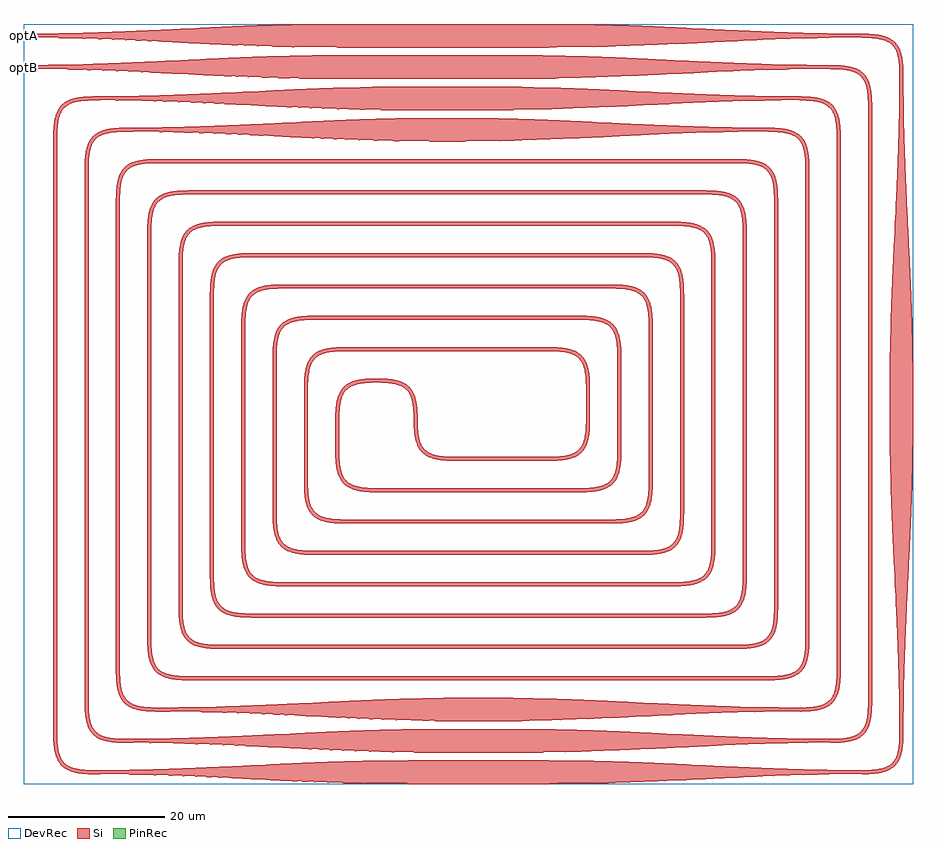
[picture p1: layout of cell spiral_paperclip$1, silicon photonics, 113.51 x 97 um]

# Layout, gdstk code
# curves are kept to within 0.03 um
import gdstk
lib = gdstk.Library(unit=1e-6, precision=1e-09)
def R(c, l, rs):  # rectangles x0, y0, x1, y1
    for r in rs: c.add(gdstk.rectangle(r[:2], r[2:], *l))
def P(c, l, *ps):  # polygons
    for p in ps: c.add(gdstk.Polygon(p, *l))
Si = (1, 0)
PinRec = (1, 10)
DevRec = (68, 0)

spiral_paperclip_1 = lib.new_cell('spiral_paperclip$1')
R(spiral_paperclip_1, Si, [(-7,-46.5,11,-43.5), (-3,-42.5,7,-39.5), (1,-38.5,3,-35.5), (54.5,0,57.5,4), (-3,35.5,-1,38.5), (-7,39.5,3,42.5), (-16,43.5,7,46.5), (-16,47.5,11,50.5)])
P(spiral_paperclip_1, Si, [(47,-41.25),(47,-40.75),(48.386,-40.696),(49.48,-40.521),(50.304,-40.209),(50.668,-39.965),(50.897,-39.746),(51.314,-39.093),(51.555,-38.341),(51.712,-37.206),(51.75,-36),(51.722,41.022),(51.612,42.045),(51.405,42.865),(51.093,43.494),(50.746,43.897),(50.093,44.314),(49.341,44.555),(48.206,44.712),(47,44.75),(47,45.25),(48.431,45.195),(49.603,45.006),(50.167,44.825),(50.543,44.648),(51.177,44.177),(51.647,43.544),(51.824,43.168),(52.005,42.604),(52.194,41.432),(52.25,40),(52.223,-37.049),(52.105,-38.13),(51.876,-39.032),(51.51,-39.771),(50.984,-40.351),(50.298,-40.769),(49.45,-41.042),(48.432,-41.194)],
  [(-43,-41.25),(-44.431,-41.195),(-45.603,-41.006),(-46.167,-40.825),(-46.543,-40.648),(-47.177,-40.177),(-47.647,-39.544),(-47.824,-39.168),(-48.005,-38.604),(-48.194,-37.432),(-48.25,-36),(-48.25,32),(-48.21,33.242),(-48.075,34.292),(-47.825,35.167),(-47.433,35.88),(-46.881,36.432),(-46.298,36.769),(-45.45,37.042),(-44.432,37.194),(-43,37.25),(-43,36.75),(-44.386,36.696),(-45.48,36.521),(-46.304,36.209),(-46.668,35.965),(-46.897,35.746),(-47.314,35.093),(-47.555,34.341),(-47.712,33.206),(-47.75,32),(-47.75,-36),(-47.711,-37.207),(-47.584,-38.197),(-47.405,-38.865),(-47.093,-39.494),(-46.667,-39.966),(-46.093,-40.314),(-45.341,-40.555),(-44.206,-40.712),(-43,-40.75)],
  [(-39,-37.25),(-40.432,-37.194),(-41.45,-37.042),(-42.298,-36.769),(-42.984,-36.351),(-43.51,-35.771),(-43.876,-35.032),(-44.105,-34.13),(-44.223,-33.049),(-44.245,28.438),(-44.155,29.791),(-43.922,30.894),(-43.58,31.661),(-43.082,32.267),(-42.422,32.711),(-41.603,33.006),(-40.431,33.195),(-39,33.25),(35.223,33.248),(36.432,33.194),(37.45,33.042),(38.298,32.769),(38.881,32.432),(39.433,31.88),(39.648,31.543),(39.876,31.032),(40.132,29.963),(40.241,28.647),(40.25,-24),(40.176,-25.614),(40.074,-26.293),(39.922,-26.894),(39.769,-27.298),(39.509,-27.772),(39.177,-28.177),(38.88,-28.433),(38.297,-28.77),(37.449,-29.043),(36.431,-29.195),(35.221,-29.249),(-31.648,-29.24),(-32.791,-29.155),(-33.604,-29.005),(-34.298,-28.769),(-34.881,-28.432),(-35.352,-27.983),(-35.711,-27.422),(-35.966,-26.75),(-36.156,-25.79),(-36.25,-24),(-36.25,20),(-36.194,21.432),(-36.042,22.45),(-35.824,23.168),(-35.432,23.881),(-34.983,24.352),(-34.422,24.711),(-33.603,25.006),(-32.79,25.156),(-31.647,25.241),(27,25.25),(28.243,25.209),(29.293,25.074),(30.168,24.824),(30.881,24.432),(31.352,23.983),(31.711,23.422),(32.006,22.603),(32.177,21.613),(32.246,20.437),(32.25,-16),(32.155,-17.791),(31.965,-18.751),(31.71,-19.423),(31.266,-20.083),(30.771,-20.51),(30.167,-20.825),(29.449,-21.043),(28.431,-21.195),(27.221,-21.249),(-23,-21.25),(-24.432,-21.194),(-25.45,-21.042),(-26.168,-20.824),(-26.881,-20.432),(-27.352,-19.983),(-27.711,-19.422),(-28.006,-18.603),(-28.177,-17.613),(-28.246,-16.437),(-28.25,12),(-28.222,13.05),(-28.131,13.964),(-27.922,14.894),(-27.647,15.544),(-27.266,16.083),(-26.771,16.51),(-26.167,16.825),(-25.449,17.043),(-24.431,17.195),(-23.221,17.249),(19,17.25),(20.614,17.176),(21.604,17.005),(22.298,16.769),(22.881,16.432),(23.433,15.88),(23.77,15.297),(24.043,14.449),(24.177,13.613),(24.246,12.437),(24.25,-8),(24.209,-9.243),(24.074,-10.293),(23.875,-11.033),(23.58,-11.661),(23.177,-12.177),(22.66,-12.581),(22.032,-12.876),(21.292,-13.075),(20.431,-13.195),(19.221,-13.249),(-15,-13.25),(-16.614,-13.176),(-17.604,-13.005),(-18.298,-12.769),(-18.881,-12.432),(-19.352,-11.983),(-19.711,-11.422),(-20.006,-10.603),(-20.156,-9.79),(-20.241,-8.647),(-20.245,4.438),(-20.155,5.791),(-19.965,6.751),(-19.769,7.298),(-19.432,7.881),(-19.082,8.267),(-18.543,8.648),(-17.893,8.923),(-17.13,9.105),(-16.242,9.21),(-15.221,9.249),(11,9.25),(12.791,9.155),(13.604,9.005),(14.298,8.769),(14.881,8.432),(15.352,7.983),(15.711,7.422),(15.966,6.75),(16.132,5.963),(16.223,5.049),(16.222,-1.05),(16.074,-2.293),(15.769,-3.298),(15.509,-3.772),(15.177,-4.177),(14.771,-4.51),(14.297,-4.77),(13.75,-4.966),(13.13,-5.105),(11.647,-5.241),(-1.438,-5.245),(-2.964,-5.131),(-4.033,-4.875),(-4.661,-4.58),(-5.177,-4.177),(-5.581,-3.66),(-5.876,-3.032),(-6.043,-2.449),(-6.177,-1.613),(-6.289,1.207),(-6.416,2.197),(-6.554,2.742),(-6.738,3.201),(-6.97,3.583),(-7.254,3.897),(-7.697,4.21),(-8.259,4.447),(-8.956,4.613),(-9.794,4.712),(-10.999,4.75),(-12.386,4.696),(-13.342,4.554),(-14.094,4.313),(-14.494,4.093),(-14.823,3.823),(-15.094,3.493),(-15.314,3.093),(-15.486,2.612),(-15.613,2.044),(-15.746,0.427),(-15.745,-4.428),(-15.612,-6.045),(-15.405,-6.865),(-15.152,-7.401),(-14.746,-7.897),(-14.303,-8.21),(-13.864,-8.406),(-13.196,-8.585),(-12.385,-8.697),(-11.427,-8.746),(15,-8.75),(16.207,-8.711),(17.045,-8.612),(17.742,-8.446),(18.304,-8.209),(18.668,-7.965),(18.966,-7.667),(19.21,-7.303),(19.406,-6.864),(19.555,-6.341),(19.66,-5.728),(19.749,-4.217),(19.75,8),(19.711,9.207),(19.554,10.342),(19.313,11.094),(18.965,11.668),(18.667,11.966),(18.4,12.153),(17.864,12.406),(17.196,12.585),(16.385,12.697),(15.427,12.746),(-19,12.75),(-20.207,12.711),(-21.045,12.612),(-21.865,12.405),(-22.401,12.152),(-22.747,11.896),(-23.031,11.582),(-23.263,11.2),(-23.447,10.741),(-23.585,10.196),(-23.679,9.559),(-23.75,8),(-23.722,-13.022),(-23.584,-14.197),(-23.36,-14.982),(-22.965,-15.668),(-22.493,-16.094),(-21.981,-16.361),(-21.341,-16.555),(-20.385,-16.697),(-19.427,-16.746),(23,-16.75),(24.207,-16.711),(25.197,-16.584),(25.865,-16.405),(26.494,-16.093),(26.823,-15.823),(27.094,-15.493),(27.447,-14.741),(27.585,-14.196),(27.679,-13.559),(27.75,-12),(27.74,16.632),(27.637,17.89),(27.405,18.865),(27.093,19.494),(26.896,19.747),(26.582,20.031),(25.981,20.361),(25.196,20.585),(24.206,20.712),(23,20.75),(-27.217,20.748),(-28.207,20.711),(-29.197,20.584),(-29.865,20.405),(-30.494,20.093),(-30.823,19.823),(-31.094,19.493),(-31.447,18.741),(-31.585,18.196),(-31.679,17.559),(-31.75,16),(-31.74,-20.632),(-31.637,-21.89),(-31.405,-22.865),(-31.093,-23.494),(-30.896,-23.747),(-30.582,-24.031),(-30.093,-24.314),(-29.341,-24.555),(-28.385,-24.697),(-27.217,-24.749),(31,-24.75),(32.207,-24.711),(33.342,-24.554),(34.094,-24.313),(34.668,-23.965),(35.094,-23.493),(35.447,-22.741),(35.66,-21.728),(35.746,-20.427),(35.75,24),(35.711,25.207),(35.584,26.197),(35.36,26.982),(35.03,27.583),(34.582,28.031),(33.981,28.361),(33.196,28.585),(32.206,28.712),(31,28.75),(-35.217,28.748),(-36.386,28.696),(-37.342,28.554),(-38.094,28.313),(-38.668,27.965),(-39.094,27.493),(-39.447,26.741),(-39.66,25.728),(-39.746,24.427),(-39.745,-28.428),(-39.678,-29.56),(-39.521,-30.48),(-39.313,-31.094),(-38.965,-31.668),(-38.493,-32.094),(-37.864,-32.406),(-37.044,-32.613),(-36.021,-32.723),(39.83,-32.732),(40.89,-32.637),(41.613,-32.485),(42.304,-32.209),(42.747,-31.896),(43.094,-31.493),(43.406,-30.864),(43.585,-30.196),(43.712,-29.206),(43.75,-28),(43.748,32.217),(43.696,33.386),(43.521,34.48),(43.262,35.201),(42.896,35.747),(42.667,35.966),(42.303,36.21),(41.479,36.522),(40.385,36.697),(39,36.75),(39,37.25),(40.613,37.177),(41.75,36.966),(42.167,36.825),(42.66,36.581),(43.266,36.083),(43.71,35.423),(44.005,34.604),(44.176,33.614),(44.245,32.438),(44.233,-28.851),(44.132,-29.963),(43.923,-30.893),(43.581,-31.66),(43.177,-32.177),(42.661,-32.58),(41.894,-32.922),(40.964,-33.131),(39.852,-33.232),(-36.049,-33.223),(-37.13,-33.105),(-38.032,-32.876),(-38.771,-32.51),(-39.266,-32.083),(-39.71,-31.423),(-40.005,-30.604),(-40.176,-29.614),(-40.245,-28.438),(-40.25,24),(-40.195,25.431),(-40.043,26.449),(-39.77,27.297),(-39.433,27.88),(-38.881,28.432),(-38.298,28.769),(-37.45,29.042),(-36.432,29.194),(-35,29.25),(31,29.25),(32.242,29.21),(33.292,29.075),(34.167,28.825),(34.88,28.433),(35.432,27.881),(35.769,27.298),(36.042,26.45),(36.194,25.432),(36.25,24),(36.241,-20.647),(36.132,-21.963),(35.876,-23.032),(35.648,-23.543),(35.433,-23.88),(34.881,-24.432),(34.298,-24.769),(33.45,-25.042),(32.432,-25.194),(31.223,-25.248),(-27,-25.25),(-28.431,-25.195),(-29.449,-25.043),(-30.297,-24.77),(-30.88,-24.433),(-31.432,-23.881),(-31.769,-23.298),(-32.042,-22.45),(-32.194,-21.432),(-32.25,-20),(-32.241,16.647),(-32.132,17.963),(-31.876,19.032),(-31.51,19.771),(-30.984,20.351),(-30.298,20.769),(-29.45,21.042),(-28.432,21.194),(-27,21.25),(23.221,21.249),(24.431,21.195),(25.449,21.043),(26.167,20.825),(26.771,20.51),(27.177,20.177),(27.432,19.881),(27.71,19.423),(27.922,18.894),(28.074,18.293),(28.176,17.614),(28.25,16),(28.233,-12.851),(28.105,-14.13),(27.825,-15.167),(27.433,-15.88),(27.177,-16.177),(26.772,-16.509),(26.168,-16.824),(25.45,-17.042),(24.614,-17.176),(23.438,-17.245),(-19.851,-17.233),(-20.79,-17.156),(-21.603,-17.006),(-22.297,-16.77),(-22.771,-16.51),(-23.177,-16.177),(-23.58,-15.661),(-23.824,-15.168),(-24.042,-14.45),(-24.194,-13.432),(-24.25,-12),(-24.249,8.221),(-24.132,9.963),(-23.966,10.75),(-23.711,11.422),(-23.433,11.88),(-22.984,12.351),(-22.423,12.71),(-21.751,12.965),(-20.964,13.131),(-20.05,13.222),(15,13.25),(16.613,13.177),(17.449,13.043),(18.167,12.825),(18.771,12.51),(19.266,12.083),(19.647,11.544),(19.922,10.894),(20.104,10.131),(20.222,9.05),(20.249,-4.221),(20.177,-5.613),(20.006,-6.603),(19.77,-7.297),(19.51,-7.771),(19.177,-8.177),(18.661,-8.58),(18.168,-8.824),(17.45,-9.042),(16.614,-9.176),(15.438,-9.245),(-11,-9.25),(-12.79,-9.156),(-13.603,-9.006),(-14.297,-8.77),(-14.88,-8.433),(-15.351,-7.984),(-15.71,-7.423),(-15.965,-6.751),(-16.131,-5.964),(-16.222,-5.05),(-16.223,1.049),(-16.075,2.292),(-15.77,3.297),(-15.51,3.771),(-15.177,4.177),(-14.772,4.509),(-14.298,4.769),(-13.751,4.965),(-13.131,5.104),(-11.648,5.24),(-9.758,5.21),(-8.397,5.006),(-7.833,4.825),(-7.34,4.581),(-6.918,4.267),(-6.649,3.984),(-6.42,3.661),(-6.176,3.168),(-5.896,2.131),(-5.778,1.05),(-5.697,-1.385),(-5.585,-2.196),(-5.447,-2.741),(-5.21,-3.303),(-4.897,-3.746),(-4.494,-4.093),(-3.865,-4.405),(-2.89,-4.637),(-1.428,-4.745),(11.217,-4.749),(12.889,-4.638),(13.479,-4.522),(14.093,-4.314),(14.493,-4.094),(14.823,-3.823),(15.093,-3.494),(15.313,-3.094),(15.485,-2.613),(15.612,-2.045),(15.745,-0.428),(15.746,4.427),(15.613,6.044),(15.406,6.864),(15.153,7.4),(14.747,7.896),(14.304,8.209),(13.742,8.446),(13.045,8.612),(12.207,8.711),(11,8.75),(-15.427,8.746),(-16.385,8.697),(-17.196,8.585),(-17.864,8.406),(-18.303,8.21),(-18.667,7.966),(-18.965,7.668),(-19.209,7.304),(-19.405,6.865),(-19.554,6.342),(-19.659,5.729),(-19.75,4),(-19.75,-8),(-19.712,-9.206),(-19.555,-10.341),(-19.314,-11.093),(-18.966,-11.667),(-18.668,-11.965),(-18.401,-12.152),(-17.865,-12.405),(-17.197,-12.584),(-16.386,-12.696),(-15.428,-12.745),(19,-12.75),(20.206,-12.712),(21.196,-12.585),(21.981,-12.361),(22.582,-12.031),(22.896,-11.747),(23.093,-11.494),(23.405,-10.865),(23.637,-9.89),(23.732,-8.83),(23.75,12),(23.66,13.728),(23.522,14.479),(23.263,15.2),(22.966,15.667),(22.494,16.093),(21.865,16.405),(21.197,16.584),(20.207,16.711),(19,16.75),(-23.427,16.746),(-24.385,16.697),(-25.341,16.555),(-26.093,16.314),(-26.582,16.031),(-26.896,15.747),(-27.093,15.494),(-27.405,14.865),(-27.637,13.89),(-27.74,12.632),(-27.746,-16.427),(-27.679,-17.559),(-27.522,-18.479),(-27.314,-19.093),(-26.966,-19.667),(-26.494,-20.093),(-25.865,-20.405),(-25.197,-20.584),(-24.207,-20.711),(-23,-20.75),(27.631,-20.741),(28.728,-20.66),(29.479,-20.522),(30.093,-20.314),(30.667,-19.966),(31.093,-19.494),(31.36,-18.982),(31.554,-18.342),(31.696,-17.386),(31.75,-16),(31.75,20),(31.723,21.021),(31.638,21.889),(31.486,22.612),(31.263,23.2),(30.966,23.667),(30.583,24.03),(30.094,24.313),(29.48,24.521),(28.729,24.659),(27.632,24.74),(-31.217,24.749),(-32.385,24.697),(-33.341,24.555),(-34.093,24.314),(-34.582,24.031),(-34.896,23.747),(-35.093,23.494),(-35.313,23.094),(-35.485,22.613),(-35.696,21.386),(-35.75,20),(-35.746,-24.427),(-35.66,-25.728),(-35.447,-26.741),(-35.094,-27.493),(-34.668,-27.965),(-34.094,-28.313),(-33.342,-28.554),(-32.207,-28.711),(-31,-28.75),(35.217,-28.749),(36.385,-28.697),(37.341,-28.555),(38.093,-28.314),(38.667,-27.966),(38.965,-27.668),(39.152,-27.401),(39.485,-26.613),(39.696,-25.386),(39.75,-24),(39.746,28.427),(39.66,29.728),(39.447,30.741),(39.094,31.493),(38.668,31.965),(38.094,32.313),(37.342,32.554),(36.386,32.696),(35.217,32.748),(-39,32.75),(-40.206,32.712),(-41.341,32.555),(-42.093,32.314),(-42.746,31.897),(-42.965,31.668),(-43.209,31.304),(-43.485,30.613),(-43.659,29.729),(-43.745,28.428),(-43.723,-33.021),(-43.613,-34.044),(-43.406,-34.864),(-43.094,-35.493),(-42.747,-35.896),(-42.094,-36.313),(-41.342,-36.554),(-40.207,-36.711),(-39,-36.75)],
  [(43,-37.25),(43,-36.75),(44.385,-36.697),(45.479,-36.522),(46.303,-36.21),(46.667,-35.966),(46.896,-35.747),(47.313,-35.094),(47.554,-34.342),(47.711,-33.207),(47.75,-32),(47.75,36),(47.712,37.206),(47.585,38.196),(47.406,38.864),(47.094,39.493),(46.668,39.965),(46.094,40.313),(45.342,40.554),(44.207,40.711),(43,40.75),(43,41.25),(44.432,41.194),(45.604,41.005),(46.168,40.824),(46.544,40.647),(47.177,40.177),(47.648,39.543),(47.825,39.167),(48.006,38.603),(48.195,37.431),(48.25,36),(48.25,-32),(48.209,-33.243),(48.074,-34.293),(47.824,-35.168),(47.432,-35.881),(46.88,-36.433),(46.297,-36.77),(45.449,-37.043),(44.431,-37.195)],
  [(-47,-45.25),(-48.432,-45.194),(-49.604,-45.005),(-50.168,-44.824),(-50.544,-44.647),(-51.177,-44.177),(-51.648,-43.543),(-51.825,-43.167),(-52.006,-42.603),(-52.195,-41.431),(-52.25,-40),(-52.222,37.05),(-52.104,38.131),(-51.875,39.033),(-51.509,39.772),(-50.983,40.352),(-50.297,40.77),(-49.449,41.043),(-48.431,41.195),(-47,41.25),(-47,40.75),(-48.385,40.697),(-49.479,40.522),(-50.303,40.21),(-50.667,39.966),(-50.896,39.747),(-51.313,39.094),(-51.554,38.342),(-51.711,37.207),(-51.75,36),(-51.723,-41.021),(-51.613,-42.044),(-51.406,-42.864),(-51.094,-43.493),(-50.747,-43.896),(-50.094,-44.313),(-49.342,-44.554),(-48.207,-44.711),(-47,-44.75)],
  [(51,-45.25),(51,-44.75),(52.385,-44.697),(53.479,-44.522),(54.303,-44.21),(54.823,-43.823),(55.209,-43.304),(55.521,-42.48),(55.696,-41.386),(55.75,-40),(56.25,-40),(56.194,-41.432),(56.005,-42.604),(55.824,-43.168),(55.647,-43.544),(55.177,-44.177),(54.543,-44.648),(54.167,-44.825),(53.603,-45.006),(52.431,-45.195)],
  [(55.75,44),(55.712,45.206),(55.555,46.341),(55.314,47.093),(54.897,47.746),(54.668,47.965),(54.304,48.209),(53.48,48.521),(52.386,48.696),(51,48.75),(51,49.25),(52.614,49.176),(53.751,48.965),(54.168,48.824),(54.661,48.58),(55.267,48.082),(55.581,47.66),(55.876,47.032),(56.043,46.449),(56.177,45.613),(56.25,44)],
  [(-16,43.5),(-21.28,43.553),(-26.28,43.693),(-47.12,44.605),(-51.72,44.716),(-56,44.75),(-56,45.25),(-51.72,45.284),(-47.28,45.39),(-42.4,45.573),(-26.28,46.307),(-21.28,46.447),(-16,46.5)],
  [(7,43.5),(7,46.5),(12.28,46.447),(17.28,46.307),(38.12,45.395),(42.72,45.284),(47,45.25),(47,44.75),(42.72,44.716),(38.28,44.61),(33.4,44.427),(17.28,43.693),(12.28,43.553)],
  [(7,-42.5),(7,-39.5),(12.28,-39.553),(17.28,-39.693),(38.12,-40.605),(42.72,-40.716),(47,-40.75),(47,-41.25),(42.72,-41.284),(38.28,-41.39),(33.4,-41.573),(17.28,-42.307),(12.28,-42.447)],
  [(-3,-42.5),(-8.28,-42.447),(-13.28,-42.307),(-34.12,-41.395),(-38.72,-41.284),(-43,-41.25),(-43,-40.75),(-38.72,-40.716),(-34.28,-40.61),(-29.4,-40.427),(-13.28,-39.693),(-8.28,-39.553),(-3,-39.5)],
  [(-3,35.5),(-8.28,35.553),(-13.28,35.693),(-34.12,36.605),(-38.72,36.716),(-43,36.75),(-43,37.25),(-38.72,37.284),(-34.28,37.39),(-29.4,37.573),(-13.28,38.307),(-8.28,38.447),(-3,38.5)],
  [(-1,35.5),(-1,38.5),(4.28,38.447),(9.28,38.307),(30.12,37.395),(34.72,37.284),(39,37.25),(39,36.75),(34.72,36.716),(30.28,36.61),(25.4,36.427),(9.28,35.693),(4.28,35.553)],
  [(1,-38.5),(-4.28,-38.447),(-9.28,-38.307),(-30.12,-37.395),(-34.72,-37.284),(-39,-37.25),(-39,-36.75),(-34.72,-36.716),(-30.28,-36.61),(-25.4,-36.427),(-9.28,-35.693),(-4.28,-35.553),(1,-35.5)],
  [(3,-38.5),(3,-35.5),(8.28,-35.553),(13.28,-35.693),(34.12,-36.605),(38.72,-36.716),(43,-36.75),(43,-37.25),(38.72,-37.284),(34.28,-37.39),(29.4,-37.573),(13.28,-38.307),(8.28,-38.447)],
  [(3,39.5),(3,42.5),(8.28,42.447),(13.28,42.307),(34.12,41.395),(38.72,41.284),(43,41.25),(43,40.75),(38.72,40.716),(34.28,40.61),(29.4,40.427),(13.28,39.693),(8.28,39.553)],
  [(-7,39.5),(-12.28,39.553),(-17.28,39.693),(-38.12,40.605),(-42.72,40.716),(-47,40.75),(-47,41.25),(-42.72,41.284),(-38.28,41.39),(-33.4,41.573),(-17.28,42.307),(-12.28,42.447),(-7,42.5)],
  [(-7,-46.5),(-12.28,-46.447),(-17.28,-46.307),(-38.12,-45.395),(-42.72,-45.284),(-47,-45.25),(-47,-44.75),(-42.72,-44.716),(-38.28,-44.61),(-33.4,-44.427),(-17.28,-43.693),(-12.28,-43.553),(-7,-43.5)],
  [(11,-46.5),(11,-43.5),(16.28,-43.553),(21.28,-43.693),(42.12,-44.605),(46.72,-44.716),(51,-44.75),(51,-45.25),(46.72,-45.284),(42.28,-45.39),(37.4,-45.573),(21.28,-46.307),(16.28,-46.447)],
  [(55.75,-40),(55.716,-35.72),(55.61,-31.28),(55.427,-26.4),(54.693,-10.28),(54.553,-5.28),(54.5,0),(57.5,0),(57.447,-5.28),(57.307,-10.28),(56.395,-31.12),(56.284,-35.72),(56.25,-40)],
  [(54.5,4),(54.553,9.28),(54.693,14.28),(55.605,35.12),(55.716,39.72),(55.75,44),(56.25,44),(56.284,39.72),(56.39,35.28),(56.573,30.4),(57.307,14.28),(57.447,9.28),(57.5,4)],
  [(11,47.5),(11,50.5),(16.28,50.447),(21.28,50.307),(42.12,49.395),(46.72,49.284),(51,49.25),(51,48.75),(46.72,48.716),(42.28,48.61),(37.4,48.427),(21.28,47.693),(16.28,47.553)],
  [(-16,47.5),(-21.28,47.553),(-26.28,47.693),(-47.12,48.605),(-51.72,48.716),(-56,48.75),(-56,49.25),(-51.72,49.284),(-47.28,49.39),(-42.4,49.573),(-26.28,50.307),(-21.28,50.447),(-16,50.5)])
R(spiral_paperclip_1, DevRec, [(-56,-46.5,57.5,50.5)])
spiral_paperclip_1.add(gdstk.FlexPath([(-55.99,49),(-56.01,49)], 0.5, ends="flush", simple_path=True, layer=1, datatype=10))  # PinRec
spiral_paperclip_1.add(gdstk.FlexPath([(-55.99,45),(-56.01,45)], 0.5, ends="flush", simple_path=True, layer=1, datatype=10))  # PinRec
spiral_paperclip_1.add(gdstk.Label('optA', (-56,49), layer=1, texttype=10))
spiral_paperclip_1.add(gdstk.Label('optB', (-56,45), layer=1, texttype=10))

lib.write_gds('spiral_paperclip_1.gds')
